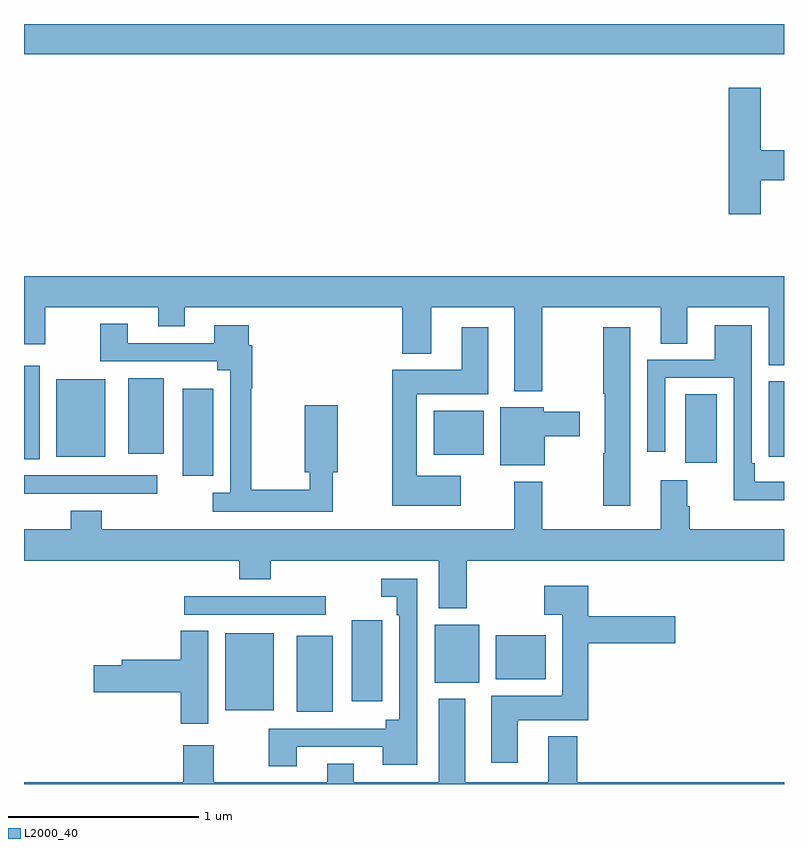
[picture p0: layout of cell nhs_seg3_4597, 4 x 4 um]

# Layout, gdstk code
import gdstk
lib = gdstk.Library(unit=1e-6, precision=1e-09)
def R(c, l, rs):  # rectangles x0, y0, x1, y1
    for r in rs: c.add(gdstk.rectangle(r[:2], r[2:], *l))
def P(c, l, *ps):  # polygons
    for p in ps: c.add(gdstk.Polygon(p, *l))
L2000_40 = (2000, 40)

nhs_seg3_4597 = lib.new_cell('nhs_seg3_4597')
R(nhs_seg3_4597, L2000_40, [(358.436,706.781,358.624,707.179), (358.058,706.787,358.315,707.194), (358.724,706.836,358.885,707.263), (359.162,706.934,359.395,707.239), (359.483,706.952,359.746,707.182), (357.843,707.292,358.588,707.388), (357,707.928,357.7,708.024), (357.836,708.023,357.997,708.481), (360.479,708.09,360.646,708.452), (357,708.109,357.082,708.601), (357.17,708.122,357.427,708.529), (359.156,708.134,359.419,708.364), (357.548,708.137,357.736,708.535), (357,710.24,361,710.4)])
P(nhs_seg3_4597, L2000_40, [(360.877,709.577),(361,709.577),(361,709.735),(360.877,709.735),(360.877,710.065),(360.71,710.065),(360.71,709.398),(360.877,709.398)],
  [(359.727,708.908),(360.35,708.908),(360.35,708.718),(360.49,708.718),(360.49,708.908),(360.92,708.908),(360.92,708.604),(361,708.604),(361,709.072),(357,709.072),(357,708.714),(357.111,708.714),(357.111,708.908),(357.707,708.908),(357.707,708.809),(357.847,708.809),(357.847,708.908),(358.991,708.908),(358.991,708.665),(359.143,708.665),(359.143,708.908),(359.579,708.908),(359.579,708.467),(359.727,708.467)],
  [(358.624,708.041),(358.65,708.041),(358.65,708.394),(358.477,708.394),(358.477,708.041),(358.503,708.041),(358.503,707.948),(358.195,707.948),(358.195,708.482),(358.202,708.482),(358.202,708.71),(358.183,708.71),(358.183,708.814),(358.001,708.814),(358.001,708.72),(357.547,708.72),(357.547,708.823),(357.4,708.823),(357.4,708.624),(358.016,708.624),(358.016,708.578),(358.086,708.578),(358.086,707.932),(357.993,707.932),(357.993,707.832),(358.624,707.832)],
  [(361,707.992),(360.847,707.992),(360.847,708.088),(360.831,708.088),(360.831,708.814),(360.635,708.814),(360.635,708.633),(360.279,708.633),(360.279,708.15),(360.375,708.15),(360.375,708.537),(360.735,708.537),(360.735,707.894),(361,707.894)],
  [(360.19,708.805),(360.049,708.805),(360.049,708.454),(360.056,708.454),(360.056,708.14),(360.049,708.14),(360.049,707.865),(360.19,707.865)],
  [(359.299,708.022),(359.068,708.022),(359.068,708.452),(359.443,708.452),(359.443,708.805),(359.303,708.805),(359.303,708.58),(358.939,708.58),(358.939,707.864),(359.299,707.864)],
  [(361,708.519),(360.92,708.519),(360.92,708.235),(360.921,708.235),(360.921,708.123),(361,708.123)],
  [(359.74,708.229),(359.926,708.229),(359.926,708.358),(359.736,708.358),(359.736,708.382),(359.507,708.382),(359.507,708.077),(359.74,708.077)],
  [(359.331,707.576),(361,707.576),(361,707.74),(360.503,707.74),(360.503,707.861),(360.49,707.861),(360.49,707.998),(360.35,707.998),(360.35,707.74),(359.727,707.74),(359.727,707.992),(359.579,707.992),(359.579,707.74),(357.41,707.74),(357.41,707.839),(357.245,707.839),(357.245,707.74),(357,707.74),(357,707.576),(358.133,707.576),(358.133,707.477),(358.298,707.477),(358.298,707.576),(359.183,707.576),(359.183,707.324),(359.331,707.324)],
  [(358.435,706.596),(358.889,706.596),(358.889,706.502),(359.07,706.502),(359.07,707.481),(358.881,707.481),(358.881,707.385),(358.962,707.385),(358.962,707.288),(358.974,707.288),(358.974,706.738),(358.904,706.738),(358.904,706.692),(358.288,706.692),(358.288,706.494),(358.435,706.494)],
  [(359.599,706.736),(359.969,706.736),(359.969,707.141),(360.427,707.141),(360.427,707.283),(359.969,707.283),(359.969,707.443),(359.739,707.443),(359.739,707.291),(359.834,707.291),(359.834,706.864),(359.459,706.864),(359.459,706.512),(359.599,706.512)],
  [(357.97,707.207),(357.824,707.207),(357.824,707.054),(357.515,707.054),(357.515,707.024),(357.366,707.024),(357.366,706.882),(357.824,706.882),(357.824,706.716),(357.97,706.716)],
  [(361,706.408),(359.912,706.408),(359.912,706.651),(359.759,706.651),(359.759,706.408),(359.323,706.408),(359.323,706.849),(359.183,706.849),(359.183,706.408),(358.735,706.408),(358.735,706.507),(358.595,706.507),(358.595,706.408),(357.999,706.408),(357.999,706.603),(357.839,706.603),(357.839,706.408),(357,706.408),(357,706.4),(361,706.4)])

lib.write_gds('nhs_seg3_4597.gds')
